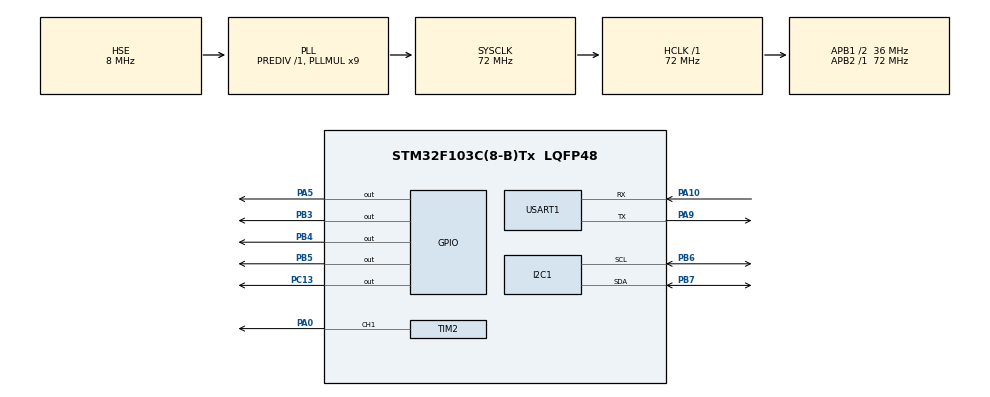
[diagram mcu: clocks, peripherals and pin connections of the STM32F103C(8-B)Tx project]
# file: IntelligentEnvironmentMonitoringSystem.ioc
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FREERTOS.Tasks01=defaultTask,24,128,StartDefaultTask,Default,NULL,Dynamic,NULL,NULL
FREERTOS.configTOTAL_HEAP_SIZE=8000
Mcu.Family=STM32F1
Mcu.Name=STM32F103C(8-B)Tx
Mcu.Package=LQFP48
NVIC.PriorityGroup=NVIC_PRIORITYGROUP_4
NVIC.TIM4_IRQn=true\:15\:0\:false\:false\:true\:false\:false\:true\:true
NVIC.TimeBase=TIM4_IRQn
NVIC.TimeBaseIP=TIM4
PA0-WKUP.Signal=S_TIM2_CH1_ETR
PA10.Mode=Asynchronous
PA10.Signal=USART1_RX
PA13.Mode=Serial_Wire
PA13.Signal=SYS_JTMS-SWDIO
PA14.Mode=Serial_Wire
PA14.Signal=SYS_JTCK-SWCLK
PA5.GPIO_ModeDefaultOutputPP=GPIO_MODE_OUTPUT_OD
PA5.GPIO_PuPd=GPIO_PULLUP
PA5.PinState=GPIO_PIN_RESET
PA5.Signal=GPIO_Output
PA9.Mode=Asynchronous
PA9.Signal=USART1_TX
PB3.Signal=GPIO_Output
PB4.Signal=GPIO_Output
PB5.Signal=GPIO_Output
PB6.Mode=I2C
PB6.Signal=I2C1_SCL
PB7.Mode=I2C
PB7.Signal=I2C1_SDA
PC13-TAMPER-RTC.GPIO_ModeDefaultOutputPP=GPIO_MODE_OUTPUT_OD
PC13-TAMPER-RTC.GPIO_PuPd=GPIO_PULLUP
PC13-TAMPER-RTC.Signal=GPIO_Output
PD0-OSC_IN.Mode=HSE-External-Oscillator
PD0-OSC_IN.Signal=RCC_OSC_IN
PD1-OSC_OUT.Mode=HSE-External-Oscillator
PD1-OSC_OUT.Signal=RCC_OSC_OUT
ProjectManager.HeapSize=0x200
ProjectManager.StackSize=0x400
ProjectManager.TargetToolchain=MDK-ARM V5.32
RCC.AHBFreq_Value=72000000
RCC.APB1CLKDivider=RCC_HCLK_DIV2
RCC.APB1Freq_Value=36000000
RCC.APB1TimFreq_Value=72000000
RCC.APB2Freq_Value=72000000
RCC.APB2TimFreq_Value=72000000
RCC.HCLKFreq_Value=72000000
RCC.PLLMUL=RCC_PLL_MUL9
RCC.PLLSourceVirtual=RCC_PLLSOURCE_HSE
RCC.SYSCLKFreq_VALUE=72000000
RCC.SYSCLKSource=RCC_SYSCLKSOURCE_PLLCLK
RCC.USBFreq_Value=72000000
SH.S_TIM2_CH1_ETR.0=TIM2_CH1,PWM Generation1 CH1
TIM1.AutoReloadPreload=TIM_AUTORELOAD_PRELOAD_ENABLE
TIM1.Period=999
TIM1.Prescaler=71
TIM2.AutoReloadPreload=TIM_AUTORELOAD_PRELOAD_ENABLE
TIM2.Channel-PWM\ Generation1\ CH1=TIM_CHANNEL_1
TIM2.Period=999
TIM2.Prescaler=71
USART1.VirtualMode=VM_ASYNC
VP_FREERTOS_VS_CMSIS_V2.Mode=CMSIS_V2
VP_SYS_VS_tim4.Mode=TIM4
VP_TIM1_VS_ClockSourceINT.Mode=Internal
VP_TIM2_VS_ClockSourceINT.Mode=Internal
board=custom

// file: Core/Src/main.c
/* USER CODE BEGIN Header */
/**
  ******************************************************************************
  * @file           : main.c
  * @brief          : Main program body
  ******************************************************************************
  * @attention
  *
  * Copyright (c) 2026 STMicroelectronics.
  * All rights reserved.
  *
  * This software is licensed under terms that can be found in the LICENSE file
  * in the root directory of this software component.
  * If no LICENSE file comes with this software, it is provided AS-IS.
  *
  ******************************************************************************
  */
/* USER CODE END Header */
#include "main.h"
#include "cmsis_os.h"

/* USER CODE BEGIN Includes */
#include "FreeRTOS.h"                   // ARM.FreeRTOS::RTOS:Core
#include "task.h"

#include "Driver_OLED.h"
#include "Driver_DHT11.h"
//#include "Warning.h"
#include "My_UART.h"

#include "LED_Warning.h"
#include "Buzzer_Warning.h"
#include "ColorLED_Warning.h"
/* USER CODE END Includes */

/* USER CODE BEGIN PD */
//BaseType_t xDHT11TaskHandle;
//BaseType_t xOLEDTaskHandle;
//BaseType_t xWarningTaskHandle;
QueueHandle_t OLEDQueueHandle;

//QueueHandle_t WarnQueueHandle;
QueueHandle_t LED_WarnQueueHandle;
QueueHandle_t Buzzer_WarnQueueHandle;
QueueHandle_t ColorLED_WarnQueueHandle;

TaskHandle_t UARTHandle;
/* USER CODE END PD */

I2C_HandleTypeDef hi2c1;

TIM_HandleTypeDef htim1;
TIM_HandleTypeDef htim2;

UART_HandleTypeDef huart1;

/* Definitions for defaultTask */
osThreadId_t defaultTaskHandle;
const osThreadAttr_t defaultTask_attributes = {
  .name = "defaultTask",
  .stack_size = 128 * 4,
  .priority = (osPriority_t) osPriorityNormal,
};

void SystemClock_Config(void);
static void MX_GPIO_Init(void);
static void MX_TIM1_Init(void);
static void MX_I2C1_Init(void);
static void MX_TIM2_Init(void);
static void MX_USART1_UART_Init(void);
void StartDefaultTask(void *argument);

int main(void)
{

  /* MCU Configuration--------------------------------------------------------*/

  /* Reset of all peripherals, Initializes the Flash interface and the Systick. */
  HAL_Init();

  /* USER CODE BEGIN Init */
//	DHT11_Init();
//	OLED_Init();
//	OLED_Clear();
  /* USER CODE END Init */

  /* Configure the system clock */
  SystemClock_Config();

  /* Initialize all configured peripherals */
  MX_GPIO_Init();
  MX_TIM1_Init();
  MX_I2C1_Init();
  MX_TIM2_Init();
  MX_USART1_UART_Init();
  /* USER CODE BEGIN 2 */
	OLED_Init();
	OLED_Clear();

	DHT11_Init();

	/*创建并注册OLED队列*/
	OLEDQueueHandle=xQueueCreate(10,sizeof(struct DHT11Data));
	RegisterQueue(OLEDQueueHandle);

//	/*创建并注册Warning队列*/
//	WarnQueueHandle=xQueueCreate(10,sizeof(struct DHT11Data));
//	RegisterQueue(WarnQueueHandle);

	/*创建并注册LED_Warning队列*/
	LED_WarnQueueHandle=xQueueCreate(10,sizeof(struct DHT11Data));
	RegisterQueue(LED_WarnQueueHandle);

	/*创建并注册Buzzer_Warning队列*/
	Buzzer_WarnQueueHandle=xQueueCreate(10,sizeof(struct DHT11Data));
	RegisterQueue(Buzzer_WarnQueueHandle);

	/*创建并注册ColorLED_Warning队列*/
	ColorLED_WarnQueueHandle=xQueueCreate(10,sizeof(struct DHT11Data));
	RegisterQueue(ColorLED_WarnQueueHandle);

	LED_OFF();
	HAL_GPIO_WritePin(GPIOB,GPIO_PIN_3|GPIO_PIN_4|GPIO_PIN_5,GPIO_PIN_SET);
	SetBuzzer_freq_duty(1000,1);

  /* USER CODE END 2 */

  /* Init scheduler */
  osKernelInitialize();

  /* Create the thread(s) */
  /* creation of defaultTask */
  defaultTaskHandle = osThreadNew(StartDefaultTask, NULL, &defaultTask_attributes);

  /* USER CODE BEGIN RTOS_THREADS */
  /* add threads, ... */
	xTaskCreate(DHT11Task,"DHT11TASK",128,NULL,osPriorityNormal+2,NULL);
	xTaskCreate(OLEDTask,"OLEDTASK",128,NULL,osPriorityNormal,NULL);
//	xTaskCreate(WarningTask,"WarningTASK",128,NULL,osPriorityNormal,NULL);
	xTaskCreate(My_UARTTask,"My_UARTTask",128,NULL,osPriorityNormal,&UARTHandle);

	xTaskCreate(LED_WarningTask,"WarningTASK",128,NULL,osPriorityNormal+1,NULL);
	xTaskCreate(Buzzer_WarningTask,"WarningTASK",128,NULL,osPriorityNormal+1,NULL);
	xTaskCreate(ColorLED_WarningTask,"WarningTASK",128,NULL,osPriorityNormal+1,NULL);

  /* USER CODE END RTOS_THREADS */

  /* Start scheduler */
  osKernelStart();

  /* We should never get here as control is now taken by the scheduler */

  /* Infinite loop */
  while (1)
  {

  }
}

void SystemClock_Config(void)
{
  RCC_OscInitTypeDef RCC_OscInitStruct = {0};
  RCC_ClkInitTypeDef RCC_ClkInitStruct = {0};

  /** Initializes the RCC Oscillators according to the specified parameters
  * in the RCC_OscInitTypeDef structure.
  */
  RCC_OscInitStruct.OscillatorType = RCC_OSCILLATORTYPE_HSE;
  RCC_OscInitStruct.HSEState = RCC_HSE_ON;
  RCC_OscInitStruct.HSEPredivValue = RCC_HSE_PREDIV_DIV1;
  RCC_OscInitStruct.HSIState = RCC_HSI_ON;
  RCC_OscInitStruct.PLL.PLLState = RCC_PLL_ON;
  RCC_OscInitStruct.PLL.PLLSource = RCC_PLLSOURCE_HSE;
  RCC_OscInitStruct.PLL.PLLMUL = RCC_PLL_MUL9;
  if (HAL_RCC_OscConfig(&RCC_OscInitStruct) != HAL_OK)
  {
    Error_Handler();
  }

  /** Initializes the CPU, AHB and APB buses clocks
  */
  RCC_ClkInitStruct.ClockType = RCC_CLOCKTYPE_HCLK|RCC_CLOCKTYPE_SYSCLK
                              |RCC_CLOCKTYPE_PCLK1|RCC_CLOCKTYPE_PCLK2;
  RCC_ClkInitStruct.SYSCLKSource = RCC_SYSCLKSOURCE_PLLCLK;
  RCC_ClkInitStruct.AHBCLKDivider = RCC_SYSCLK_DIV1;
  RCC_ClkInitStruct.APB1CLKDivider = RCC_HCLK_DIV2;
  RCC_ClkInitStruct.APB2CLKDivider = RCC_HCLK_DIV1;

  if (HAL_RCC_ClockConfig(&RCC_ClkInitStruct, FLASH_LATENCY_2) != HAL_OK)
  {
    Error_Handler();
  }
}

static void MX_I2C1_Init(void)
{

  hi2c1.Instance = I2C1;
  hi2c1.Init.ClockSpeed = 100000;
  hi2c1.Init.DutyCycle = I2C_DUTYCYCLE_2;
  hi2c1.Init.OwnAddress1 = 0;
  hi2c1.Init.AddressingMode = I2C_ADDRESSINGMODE_7BIT;
  hi2c1.Init.DualAddressMode = I2C_DUALADDRESS_DISABLE;
  hi2c1.Init.OwnAddress2 = 0;
  hi2c1.Init.GeneralCallMode = I2C_GENERALCALL_DISABLE;
  hi2c1.Init.NoStretchMode = I2C_NOSTRETCH_DISABLE;
  if (HAL_I2C_Init(&hi2c1) != HAL_OK)
  {
    Error_Handler();
  }

}

static void MX_TIM1_Init(void)
{

  TIM_ClockConfigTypeDef sClockSourceConfig = {0};
  TIM_MasterConfigTypeDef sMasterConfig = {0};

  htim1.Instance = TIM1;
  htim1.Init.Prescaler = 71;
  htim1.Init.CounterMode = TIM_COUNTERMODE_UP;
  htim1.Init.Period = 999;
  htim1.Init.ClockDivision = TIM_CLOCKDIVISION_DIV1;
  htim1.Init.RepetitionCounter = 0;
  htim1.Init.AutoReloadPreload = TIM_AUTORELOAD_PRELOAD_ENABLE;
  if (HAL_TIM_Base_Init(&htim1) != HAL_OK)
  {
    Error_Handler();
  }
  sClockSourceConfig.ClockSource = TIM_CLOCKSOURCE_INTERNAL;
  if (HAL_TIM_ConfigClockSource(&htim1, &sClockSourceConfig) != HAL_OK)
  {
    Error_Handler();
  }
  sMasterConfig.MasterOutputTrigger = TIM_TRGO_RESET;
  sMasterConfig.MasterSlaveMode = TIM_MASTERSLAVEMODE_DISABLE;
  if (HAL_TIMEx_MasterConfigSynchronization(&htim1, &sMasterConfig) != HAL_OK)
  {
    Error_Handler();
  }
  /* USER CODE BEGIN TIM1_Init 2 */

  //CubeMX虽然给配置好了TIM1定时器，但是没有默认给启动，我们要加上这一行代码让他启动开始计数。
  //否则Delay_ms、us这些函数没有计时比较将直接瘫痪报废，而DHT11需要us计时，因此也会随之出问题。
	HAL_TIM_Base_Start(&htim1);

  /* USER CODE END TIM1_Init 2 */

}

static void MX_TIM2_Init(void)
{

  TIM_ClockConfigTypeDef sClockSourceConfig = {0};
  TIM_MasterConfigTypeDef sMasterConfig = {0};
  TIM_OC_InitTypeDef sConfigOC = {0};

  htim2.Instance = TIM2;
  htim2.Init.Prescaler = 71;
  htim2.Init.CounterMode = TIM_COUNTERMODE_UP;
  htim2.Init.Period = 999;
  htim2.Init.ClockDivision = TIM_CLOCKDIVISION_DIV1;
  htim2.Init.AutoReloadPreload = TIM_AUTORELOAD_PRELOAD_ENABLE;
  if (HAL_TIM_Base_Init(&htim2) != HAL_OK)
  {
    Error_Handler();
  }
  sClockSourceConfig.ClockSource = TIM_CLOCKSOURCE_INTERNAL;
  if (HAL_TIM_ConfigClockSource(&htim2, &sClockSourceConfig) != HAL_OK)
  {
    Error_Handler();
  }
  if (HAL_TIM_PWM_Init(&htim2) != HAL_OK)
  {
    Error_Handler();
  }
  sMasterConfig.MasterOutputTrigger = TIM_TRGO_RESET;
  sMasterConfig.MasterSlaveMode = TIM_MASTERSLAVEMODE_DISABLE;
  if (HAL_TIMEx_MasterConfigSynchronization(&htim2, &sMasterConfig) != HAL_OK)
  {
    Error_Handler();
  }
  sConfigOC.OCMode = TIM_OCMODE_PWM1;
  sConfigOC.Pulse = 0;
  sConfigOC.OCPolarity = TIM_OCPOLARITY_HIGH;
  sConfigOC.OCFastMode = TIM_OCFAST_DISABLE;
  if (HAL_TIM_PWM_ConfigChannel(&htim2, &sConfigOC, TIM_CHANNEL_1) != HAL_OK)
  {
    Error_Handler();
  }
  HAL_TIM_MspPostInit(&htim2);

}

static void MX_USART1_UART_Init(void)
{

  huart1.Instance = USART1;
  huart1.Init.BaudRate = 115200;
  huart1.Init.WordLength = UART_WORDLENGTH_8B;
  huart1.Init.StopBits = UART_STOPBITS_1;
  huart1.Init.Parity = UART_PARITY_NONE;
  huart1.Init.Mode = UART_MODE_TX_RX;
  huart1.Init.HwFlowCtl = UART_HWCONTROL_NONE;
  huart1.Init.OverSampling = UART_OVERSAMPLING_16;
  if (HAL_UART_Init(&huart1) != HAL_OK)
  {
    Error_Handler();
  }

}

static void MX_GPIO_Init(void)
{
  GPIO_InitTypeDef GPIO_InitStruct = {0};

  /* GPIO Ports Clock Enable */
  __HAL_RCC_GPIOC_CLK_ENABLE();
  __HAL_RCC_GPIOD_CLK_ENABLE();
  __HAL_RCC_GPIOA_CLK_ENABLE();
  __HAL_RCC_GPIOB_CLK_ENABLE();

  /*Configure GPIO pin Output Level */
  HAL_GPIO_WritePin(GPIOC, GPIO_PIN_13, GPIO_PIN_RESET);

  /*Configure GPIO pin Output Level */
  HAL_GPIO_WritePin(GPIOA, GPIO_PIN_5, GPIO_PIN_RESET);

  /*Configure GPIO pin Output Level */
  HAL_GPIO_WritePin(GPIOB, GPIO_PIN_3|GPIO_PIN_4|GPIO_PIN_5, GPIO_PIN_RESET);

  /*Configure GPIO pin : PC13 */
  GPIO_InitStruct.Pin = GPIO_PIN_13;
  GPIO_InitStruct.Mode = GPIO_MODE_OUTPUT_OD;
  GPIO_InitStruct.Pull = GPIO_PULLUP;
  GPIO_InitStruct.Speed = GPIO_SPEED_FREQ_LOW;
  HAL_GPIO_Init(GPIOC, &GPIO_InitStruct);

  /*Configure GPIO pin : PA5 */
  GPIO_InitStruct.Pin = GPIO_PIN_5;
  GPIO_InitStruct.Mode = GPIO_MODE_OUTPUT_OD;
  GPIO_InitStruct.Pull = GPIO_PULLUP;
  GPIO_InitStruct.Speed = GPIO_SPEED_FREQ_LOW;
  HAL_GPIO_Init(GPIOA, &GPIO_InitStruct);

  /*Configure GPIO pins : PB3 PB4 PB5 */
  GPIO_InitStruct.Pin = GPIO_PIN_3|GPIO_PIN_4|GPIO_PIN_5;
  GPIO_InitStruct.Mode = GPIO_MODE_OUTPUT_PP;
  GPIO_InitStruct.Pull = GPIO_NOPULL;
  GPIO_InitStruct.Speed = GPIO_SPEED_FREQ_LOW;
  HAL_GPIO_Init(GPIOB, &GPIO_InitStruct);

}

void StartDefaultTask(void *argument)
{
  /* USER CODE BEGIN 5 */
//	OLED_Test();
//	 void DHT11_Test(void);
  /* Infinite loop */
  for(;;)
  {
    osDelay(1);
  }
  /* USER CODE END 5 */
}

void HAL_TIM_PeriodElapsedCallback(TIM_HandleTypeDef *htim)
{
  if (htim->Instance == TIM4)
  {
    HAL_IncTick();
  }
}

void Error_Handler(void)
{
  __disable_irq();
  while (1)
  {
  }
}
